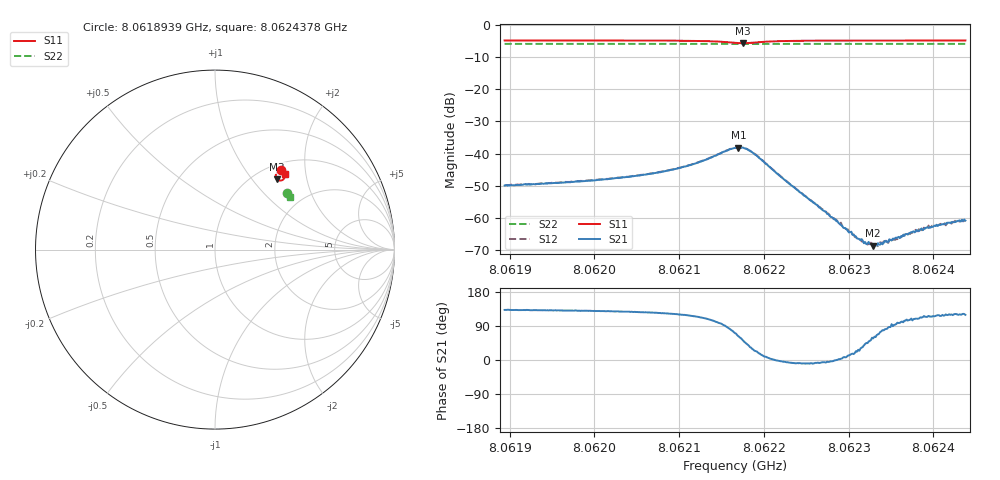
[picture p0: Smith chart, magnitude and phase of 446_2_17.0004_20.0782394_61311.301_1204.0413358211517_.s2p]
#  HZ  S  RI  R  50.00
! Rohde & Schwarz Vector Network Analyzer
! Rohde-Schwarz,ZNB20-2Port,1311601062101988,3.16
! Created: UTC 3/20/2024, 11:12:04 PM
! freq[Hz]  re:S11  im:S11  re:S21  im:S21  re:S12  im:S12  re:S22  im:S22
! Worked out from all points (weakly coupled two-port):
!   401 points, 8.0618939 GHz to 8.0624378 GHz, reference 50 ohm
!   highest |S21| = -38.13 dB at 8.0621699 GHz (marker M1); lowest = -68.7 dB at 8.062329 GHz (marker M2)
!   lowest |S11| = -5.6 dB at 8.0621754 GHz (marker M3), VSWR 3.19, Z = 62.7 + j67.4 ohm
!   |S11| at or under -10 dB: nowhere
!   |S22| runs from -5.9 to -5.8 dB; largest |S21 - S12| = 0.00095
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8.06189391e9  0.3703 0.4414  -0.00213 0.00235  -0.00198 0.00252  0.3996 0.3175
8.061985e9  0.3768 0.4353  -0.00239 0.00284  -0.00226 0.00299  0.4029 0.3129
8.06203803e9  0.3812 0.4304  -0.00261 0.00342  -0.00244 0.00362  0.4048 0.3102
8.0620761e9  0.3848 0.4251  -0.00285 0.00423  -0.00264 0.00443  0.4063 0.3081
8.06211553e9  0.3886 0.4151  -0.00298 0.00608  -0.00263 0.00632  0.4077 0.3057
8.06216584e9  0.3633 0.3846  0.00398 0.0115  0.00465 0.0114  0.4077 0.3023
8.06216992e9  0.3557 0.3857  0.0057 0.011  0.00627 0.0108  0.4076 0.3023
8.06217536e9  0.3464 0.3911  0.00767 0.00974  0.00814 0.00919  0.4075 0.3023
8.06218896e9  0.3385 0.414  0.00884 0.00401  0.00922 0.00369  0.4077 0.3029
8.06222295e9  0.3596 0.4351  0.00402 -0.000315  0.00403 -0.000609  0.4103 0.302
8.06225694e9  0.3715 0.4347  0.00177 -0.000294  0.00176 -0.00036  0.4119 0.3001
8.06229773e9  0.379 0.4316  0.000654 9.84e-05  0.000652 5.56e-05  0.4136 0.298
8.06231541e9  0.3812 0.4303  0.000392 0.00025  0.000379 0.000199  0.4143 0.297
8.06232084e9  0.3818 0.43  0.000275 0.000274  0.000316 0.000249  0.4145 0.2967
8.062329e9  0.3827 0.4296  0.0002 0.000308  0.000219 0.000335  0.4147 0.2963
8.06233308e9  0.3832 0.4292  0.000154 0.000337  0.000194 0.00034  0.415 0.2961
8.06234804e9  0.3846 0.4281  2.32e-05 0.000463  2.78e-05 0.000445  0.4156 0.2954
8.06239155e9  0.3883 0.4254  -0.000284 0.000641  -0.000289 0.000663  0.417 0.293
8.06241058e9  0.3898 0.4242  -0.000385 0.000695  -0.000335 0.000754  0.4177 0.2919
8.06241738e9  0.3903 0.4237  -0.000405 0.00073  -0.000366 0.000725  0.4179 0.2917
8.06242554e9  0.391 0.4233  -0.000446 0.000733  -0.000394 0.000807  0.4183 0.2913
8.06243778e9  0.3918 0.4226  -0.000441 0.000788  -0.000427 0.000797  0.4187 0.2905
